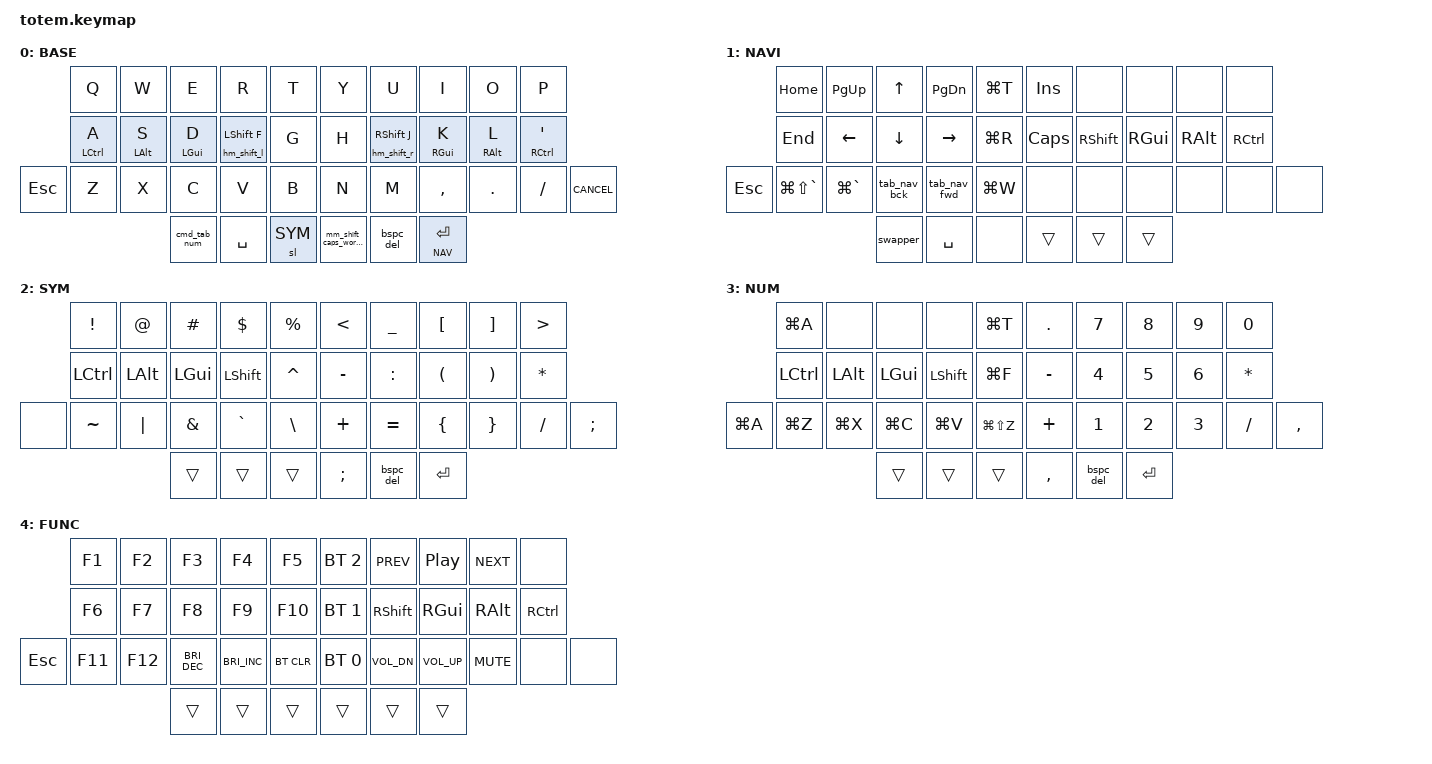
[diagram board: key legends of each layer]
//
//                                                        ▀▀▀▀▀     ▀▀▀▀▀          ▀▀█▀▀
//                                                        ▄▀▀▀▄  ▄  ▄▀▀▀▄  ▄  ▄▀▀▀▄  █  ▄▀▀▀▄
//                                                        █   █  █  █   █  █  █   █  █  █   █
//                                                         ▀▀▀   █   ▀▀▀   █   ▀▀▀   ▀   ▀▀▀
//                                                               █      ▄▄▄█▄▄▄    █   █  
//                                                               ▀      █  █  █     █▄█
//                                                             ▀▀▀▀▀    █  █  █      ▀
//                                                                      ▀  ▀  ▀
//
// ▄▄▄▄▄▄▄▄▄▄▄▄▄▄▄▄▄▄▄▄▄▄▄▄▄▄▄▄▄▄▄▄▄▄▄▄▄▄▄▄▄▄▄▄▄▄▄▄▄▄▄▄▄▄▄▄▄▄▄▄▄▄▄▄▄▄▄▄▄▄▄▄▄▄▄▄▄▄▄▄▄▄▄▄▄▄▄▄▄▄▄▄▄▄▄▄▄▄▄▄▄▄▄▄▄▄▄▄▄▄▄▄▄▄▄▄▄▄▄▄▄▄▄▄▄▄▄▄▄▄▄▄▄▄▄▄▄▄▄▄▄▄▄▄▄▄▄▄▄

#include <behaviors.dtsi>
#include <dt-bindings/zmk/bt.h>
#include <dt-bindings/zmk/keys.h>
#include <dt-bindings/zmk/outputs.h>

#include "zmk-helpers/helper.h"
#include "zmk-helpers/key-labels/totem.h"

#define BASE 0
#define NAV  1
#define SYM  2
#define NUM  3
#define FUN  4

#define KEYS_L LT0 LT1 LT2 LT3 LT4 LM0 LM1 LM2 LM3 LM4 LB0 LB1 LB2 LB3 LB4 LB5  // left hand
#define KEYS_R RT0 RT1 RT2 RT3 RT4 RM0 RM1 RM2 RM3 RM4 RB0 RB1 RB2 RB3 RB4 RB5  // right hand
#define KEYS_T LH0 LH1 LH2 RH0 RH1 RH2                                          // thumbs

#include "includes/behaviors_homerow_mods.dtsi"
#include "includes/settings.dtsi"
#include "includes/behaviors_mod_morph.dtsi"

/ {
    behaviors {
        swapper: swapper {
            compatible = "zmk,behavior-smart-toggle";
            #binding-cells = <0>;
            bindings = <&kp LGUI>, <&kp TAB>;
            ignored-key-positions = <16>;
        };
    };
    combos {
        compatible = "zmk,combos";
        combo_nav {
            timeout-ms = <50>;
            key-positions = <33 34>;
            bindings = <&lt 1 LG(SPACE)>;
        };
        combo_fun {
            timeout-ms = <50>;
            key-positions = <35 36>;
            bindings = <&mo 4>;
        };
        combo_esc {
            timeout-ms = <30>;
            key-positions = <2 3>;
            bindings = <&kp ESC>;
        };
        combo_tab {
            timeout-ms = <30>;
            key-positions = <23 24>;
            bindings = <&kp TAB>;
        };
        combo_cancel {
            timeout-ms = <30>;
            key-positions = <27 28>;
            bindings = <&kp K_CANCEL>;
        };
        combo_ret {
            timeout-ms = <30>;
            key-positions = <1 3>;
            bindings = <&kp RET>;
        };
    };
    keymap {
        compatible = "zmk,keymap";

        // ▄▄▄▄▄▄▄▄▄▄▄▄▄▄▄▄▄▄▄▄▄▄▄▄▄▄▄▄▄▄▄▄▄▄▄▄▄▄▄▄▄▄▄▄▄▄▄▄▄▄▄▄▄▄▄▄▄▄▄▄▄▄▄▄▄▄▄▄▄▄▄▄▄▄▄▄▄▄▄▄▄▄▄▄▄▄▄▄▄▄▄▄▄▄▄▄▄▄▄▄▄▄▄▄▄▄▄▄▄▄▄▄▄▄▄▄▄▄▄▄▄▄▄▄▄▄▄▄▄▄▄▄▄▄▄▄▄▄▄▄▄▄▄▄▄▄▄▄▄

        base_layer {
            // ┏━━━━━━━━━━━━━━━━━━━━━━━━━━━━━━━━━━━━━━━┓

            label = "BASE";

            // ┗━━━━━━━━━━━━━━━━━━━━━━━━━━━━━━━━━━━━━━━┛
            /*
                                                                       ╭╮╭╮╭╮╭╮
                                                                       │╰╯╰╯╰╯│
                        ┌─────────┬─────────┬─────────┬─────────┬──────╨──┐┌──╨──────┬─────────┬─────────┬─────────┬─────────┐
                ╌┄┈┈───═╡    Q    │    W    │    E    │    R    │    T    ││    Y    │    U    │    I    │    O    │    P    │   
                        ├─────────┼─────────┼─────────┼─────────┼─────────┤├─────────┼─────────┼─────────┼─────────┼─────────┤
                        │    A    │    S    │    D    │    F    │    G    ││    H    │    J    │    K    │    L    │    '    │    
              ┌─────────┼─────────┼─────────┼─────────┼─────────┼─────────┤├─────────┼─────────┼─────────┼─────────┼─────────┼─────────┐
              │   ESC   │    Z    │    X    │    C    │    V    │    B    ││    N    │    M    │    ,    │    .    │    /    │ CANCEL  │
              └─────────┴─────────┴─────────┼─────────┼─────────┼─────────┤├─────────┼─────────┼─────────┼─────────┴─────────┴─────────┘
                                            │   NUM   │  SPACE  │   SYM   ││  SHIFT  │  BSPC   │   RET   │  
                                            └─────────┴─────────┴─────────┘└─────────┴─────────┴─────────┘*/ 

            bindings = <
                           &kp Q      &kp W      &kp E      &kp R      &kp T      &kp Y      &kp U      &kp I      &kp O      &kp P
                    &hm_l LCTRL A  &hm_l LALT S  &hm_l LGUI D  &hm_shift_l LSHFT F  &kp G  &kp H  &hm_shift_r RSHFT J &hm_r RGUI K  &hm_r RALT L  &hm_r RCTRL SQT
              &kp ESC      &kp Z      &kp X      &kp C      &kp V      &kp B      &kp N      &kp M      &kp COMMA  &kp DOT   &kp SLASH  &kp K_CANCEL
                                          &cmd_tab_num    &kp SPACE  &sl SYM   &mm_shift_caps_word_r  &bspc_del  &lt NAV RET
            >;
        };

        // ▄▄▄▄▄▄▄▄▄▄▄▄▄▄▄▄▄▄▄▄▄▄▄▄▄▄▄▄▄▄▄▄▄▄▄▄▄▄▄▄▄▄▄▄▄▄▄▄▄▄▄▄▄▄▄▄▄▄▄▄▄▄▄▄▄▄▄▄▄▄▄▄▄▄▄▄▄▄▄▄▄▄▄▄▄▄▄▄▄▄▄▄▄▄▄▄▄▄▄▄▄▄▄▄▄▄▄▄▄▄▄▄▄▄▄▄▄▄▄▄▄▄▄▄▄▄▄▄▄▄▄▄▄▄▄▄▄▄▄▄▄▄▄▄▄▄▄▄▄

        nav_layer {
            // ┏━━━━━━━━━━━━━━━━━━━━━━━━━━━━━━━━━━━━━━━┓

            label = "NAVI";

            // ┗━━━━━━━━━━━━━━━━━━━━━━━━━━━━━━━━━━━━━━━┛
            /*
                                                                       ╭╮╭╮╭╮╭╮
                                                                       │╰╯╰╯╰╯│
                        ┌─────────┬─────────┬─────────┬─────────┬──────╨──┐┌──╨──────┬─────────┬─────────┬─────────┬─────────┐
                ╌┄┈┈───═╡   HOME  │   PGUP  │    ↑    │   PGDN  │  NewTab ││  INSERT │         │         │         │         │   
                        ├─────────┼─────────┼─────────┼─────────┼─────────┤├─────────┼─────────┼─────────┼─────────┼─────────┤
                        │   END   │    ←    │    ↓    │    →    │  Reload ││   CAPS  │  shift  │   cmd   │   alt   │  ctrl   │    
              ┌─────────┼─────────┼─────────┼─────────┼─────────┼─────────┤├─────────┼─────────┼─────────┼─────────┼─────────┼─────────┐
              │   ESC   │  PvWin  │  NxWin  │  PvTab  │  NxTab  │  ClsTab ││         │         │         │         │         │         │
              └─────────┴─────────┴─────────┼─────────┼─────────┼─────────┤├─────────┼─────────┼─────────┼─────────┴─────────┴─────────┘
                                            │  CmdTab │  SPACE  │         ││    ▼    │    ▼    │    ▼    │  
                                            └─────────┴─────────┴─────────┘└─────────┴─────────┴─────────┘ */

            bindings = <
                          &kp HOME    &kp PG_UP   &kp UP     &kp PG_DN   &kp LG(T)     &kp INS      &none      &none      &none      &none
                          &kp END     &kp LEFT    &kp DOWN   &kp RIGHT   &kp LG(R)    &kp CAPS      &kp RSHFT  &kp RGUI   &kp RALT   &kp RCTRL
                &kp ESC   &kp LG(LS(GRAVE))   &kp LG(GRAVE)  &tab_nav_bck  &tab_nav_fwd   &kp LG(W)    &none      &none      &none      &none      &none      &none
                                                    &swapper  &kp SPACE  &none     &trans     &trans     &trans
            >;
        };

        // ▄▄▄▄▄▄▄▄▄▄▄▄▄▄▄▄▄▄▄▄▄▄▄▄▄▄▄▄▄▄▄▄▄▄▄▄▄▄▄▄▄▄▄▄▄▄▄▄▄▄▄▄▄▄▄▄▄▄▄▄▄▄▄▄▄▄▄▄▄▄▄▄▄▄▄▄▄▄▄▄▄▄▄▄▄▄▄▄▄▄▄▄▄▄▄▄▄▄▄▄▄▄▄▄▄▄▄▄▄▄▄▄▄▄▄▄▄▄▄▄▄▄▄▄▄▄▄▄▄▄▄▄▄▄▄▄▄▄▄▄▄▄▄▄▄▄▄▄▄

        sim_layer {
            // ┏━━━━━━━━━━━━━━━━━━━━━━━━━━━━━━━━━━━━━━━┓

            label = "SYM";

            // ┗━━━━━━━━━━━━━━━━━━━━━━━━━━━━━━━━━━━━━━━┛
/*
                                                                           ╭╮╭╮╭╮╭╮
                                                                           │╰╯╰╯╰╯│
                            ┌─────────┬─────────┬─────────┬─────────┬──────╨──┐┌──╨──────┬─────────┬─────────┬─────────┬─────────┐
                    ╌┄┈┈───═╡    !    │    @    │    #    │    $    │    %    ││    <    │    _    │    [    │    ]    │    >    │   
                            ├─────────┼─────────┼─────────┼─────────┼─────────┤├─────────┼─────────┼─────────┼─────────┼─────────┤
                            │   ctrl  │   alt   │   cmd   │  shift  │    ^    ││    -    │    :    │    (    │    )    │    *    │    
                  ┌─────────┼─────────┼─────────┼─────────┼─────────┼─────────┤├─────────┼─────────┼─────────┼─────────┼─────────┼─────────┐
                  │         │    ~    │    |    │    &    │    `    │    \    ││    +    │    =    │    {    │    }    │    /    │    ;    │
                  └─────────┴─────────┴─────────┼─────────┼─────────┼─────────┤├─────────┼─────────┼─────────┼─────────┴─────────┴─────────┘
                                                │    ▼    │    ▼    │    ▼    ││    ;    │   BSPC  │   RET   │  
                                                └─────────┴─────────┴─────────┘└─────────┴─────────┴─────────┘ */

            bindings = <
                            &kp EXCL   &kp AT     &kp HASH   &kp DLLR   &kp PRCNT   &kp LT     &kp UNDER      &kp LBKT   &kp RBKT   &kp GT
                            &kp LCTRL  &kp LALT   &kp LGUI   &kp LSHFT  &kp CARET   &kp MINUS   &kp COLON   &kp LPAR   &kp RPAR   &kp STAR
                &none       &kp TILDE  &kp PIPE   &kp AMPS   &kp GRAVE  &kp BSLH    &kp PLUS  &kp EQUAL   &kp LBRC   &kp RBRC   &kp SLASH  &kp SEMI
                                                  &trans     &trans     &trans      &kp SEMI  &bspc_del   &kp RET
            >;
        };

        // ▄▄▄▄▄▄▄▄▄▄▄▄▄▄▄▄▄▄▄▄▄▄▄▄▄▄▄▄▄▄▄▄▄▄▄▄▄▄▄▄▄▄▄▄▄▄▄▄▄▄▄▄▄▄▄▄▄▄▄▄▄▄▄▄▄▄▄▄▄▄▄▄▄▄▄▄▄▄▄▄▄▄▄▄▄▄▄▄▄▄▄▄▄▄▄▄▄▄▄▄▄▄▄▄▄▄▄▄▄▄▄▄▄▄▄▄▄▄▄▄▄▄▄▄▄▄▄▄▄▄▄▄▄▄▄▄▄▄▄▄▄▄▄▄▄▄▄▄▄

        number_layer {
            // ┏━━━━━━━━━━━━━━━━━━━━━━━━━━━━━━━━━━━━━━━┓

            label = "NUM";

            // ┗━━━━━━━━━━━━━━━━━━━━━━━━━━━━━━━━━━━━━━━┛
                /*   
                                                                           ╭╮╭╮╭╮╭╮
                                                                           │╰╯╰╯╰╯│
                            ┌─────────┬─────────┬─────────┬─────────┬──────╨──┐┌──╨──────┬─────────┬─────────┬─────────┬─────────┐
                    ╌┄┈┈───═╡ sel all │         │         │         │  NewTab ││    .    │    7    │    8    │    9    │    0    │   
                            ├─────────┼─────────┼─────────┼─────────┼─────────┤├─────────┼─────────┼─────────┼─────────┼─────────┤
                            │  ctrl   │   alt   │   cmd   │  shift  │   find  ││    -    │    4    │    5    │    6    │    *    │    
                  ┌─────────┼─────────┼─────────┼─────────┼─────────┼─────────┤├─────────┼─────────┼─────────┼─────────┼─────────┼─────────┐
                  │ sel all │   undo  │   cut   │   copy  │  paste  │   redo  ││    +    │    1    │    2    │    3    │    /    │    ,    │
                  └─────────┴─────────┴─────────┼─────────┼─────────┼─────────┤├─────────┼─────────┼─────────┼─────────┴─────────┴─────────┘
                                                │    ▼    │    ▼    │    ▼    ││    ,    │   BSPC  │   RET   │  
                                                └─────────┴─────────┴─────────┘└─────────┴─────────┴─────────┘ */ 

            bindings = <
                            &kp LG(A)      &none      &none      &none  &kp LG(T)      &kp DOT      &kp N7     &kp N8     &kp N9     &kp N0
                            &kp LCTRL  &kp LALT   &kp LGUI   &kp LSHFT  &kp LG(F)      &kp MINUS   &kp N4     &kp N5     &kp N6     &kp ASTERISK
                &kp LG(A)   &kp LG(Z)  &kp LG(X)  &kp LG(C)  &kp LG(V)  &kp LG(LS(Z))   &kp PLUS  &kp N1     &kp N2     &kp N3     &kp SLASH   &kp COMMA
                                                  &trans     &trans     &trans     &kp COMMA  &bspc_del   &kp RET
            >;
        };
        function_layer {
            // ┏━━━━━━━━━━━━━━━━━━━━━━━━━━━━━━━━━━━━━━━┓

            label = "FUNC";

            // ┗━━━━━━━━━━━━━━━━━━━━━━━━━━━━━━━━━━━━━━━┛
 /*
                                                                           ╭╮╭╮╭╮╭╮
                                                                           │╰╯╰╯╰╯│
                            ┌─────────┬─────────┬─────────┬─────────┬──────╨──┐┌──╨──────┬─────────┬─────────┬─────────┬─────────┐
                    ╌┄┈┈───═╡    F1   │   F2    │    F3   │   F4    │   F5    ││   BL2   │  prev   │  play   │  next   │         │   
                            ├─────────┼─────────┼─────────┼─────────┼─────────┤├─────────┼─────────┼─────────┼─────────┼─────────┤
                            │    F6   │   F7    │   F8    │   F9    │   F10   ││   BL1   │  shift  │   cmd   │   alt   │   ctrl  │   
                  ┌─────────┼─────────┼─────────┼─────────┼─────────┼─────────┤├─────────┼─────────┼─────────┼─────────┼─────────┼─────────┐
                  │   ESC   │   F11   │   F12   │   Bri-  │   Bri+  │ BT_CLR  ││   BL0   │   vol-  │   vol+  │  mute   │         │         │
                  └─────────┴─────────┴─────────┼─────────┼─────────┼─────────┤├─────────┼─────────┼─────────┼─────────┴─────────┴─────────┘
                                                │    ▼    │    ▼    │    ▼    ││    ▼    │    ▼    │    ▼    │  
                                                └─────────┴─────────┴─────────┘└─────────┴─────────┴─────────┘ */ 

                        bindings = <
                            &kp F1     &kp F2     &kp F3     &kp F4     &kp F5     &bt BT_SEL 2  &kp C_PREV   &kp C_PP   &kp C_NEXT   &none
                            &kp F6     &kp F7     &kp F8     &kp F9     &kp F10    &bt BT_SEL 1  &kp RSHFT    &kp RGUI   &kp RALT   &kp RCTRL
                &kp ESC     &kp F11    &kp F12 &kp C_BRI_DEC &kp C_BRI_INC &bt BT_CLR   &bt BT_SEL 0  &kp C_VOL_DN &kp C_VOL_UP   &kp C_MUTE  &none     &none
                                                  &trans    &trans  &trans    &trans        &trans     &trans
            >;
        };
    };
};
